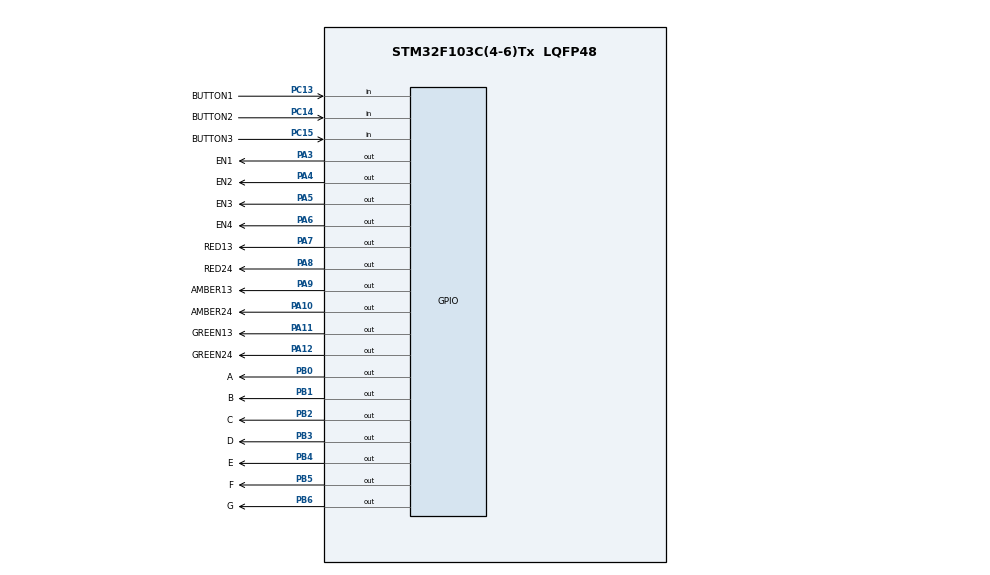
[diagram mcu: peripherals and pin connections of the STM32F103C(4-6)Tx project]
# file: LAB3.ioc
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Mcu.Family=STM32F1
Mcu.Name=STM32F103C(4-6)Tx
Mcu.Package=LQFP48
NVIC.PriorityGroup=NVIC_PRIORITYGROUP_4
NVIC.TIM2_IRQn=true\:0\:0\:false\:false\:true\:true\:true\:true
PA10.GPIO_Label=AMBER24
PA10.Signal=GPIO_Output
PA11.GPIO_Label=GREEN13
PA11.Signal=GPIO_Output
PA12.GPIO_Label=GREEN24
PA12.Signal=GPIO_Output
PA3.GPIO_Label=EN1
PA3.Signal=GPIO_Output
PA4.GPIO_Label=EN2
PA4.Signal=GPIO_Output
PA5.GPIO_Label=EN3
PA5.Signal=GPIO_Output
PA6.GPIO_Label=EN4
PA6.Signal=GPIO_Output
PA7.GPIO_Label=RED13
PA7.Signal=GPIO_Output
PA8.GPIO_Label=RED24
PA8.Signal=GPIO_Output
PA9.GPIO_Label=AMBER13
PA9.Signal=GPIO_Output
PB0.GPIO_Label=A
PB0.Signal=GPIO_Output
PB1.GPIO_Label=B
PB1.Signal=GPIO_Output
PB2.GPIO_Label=C
PB2.Signal=GPIO_Output
PB3.GPIO_Label=D
PB3.Signal=GPIO_Output
PB4.GPIO_Label=E
PB4.Signal=GPIO_Output
PB5.GPIO_Label=F
PB5.Signal=GPIO_Output
PB6.GPIO_Label=G
PB6.Signal=GPIO_Output
PC13-TAMPER-RTC.GPIO_Label=BUTTON1
PC13-TAMPER-RTC.GPIO_PuPd=GPIO_PULLUP
PC13-TAMPER-RTC.Signal=GPIO_Input
PC14-OSC32_IN.GPIO_Label=BUTTON2
PC14-OSC32_IN.GPIO_PuPd=GPIO_PULLUP
PC14-OSC32_IN.Signal=GPIO_Input
PC15-OSC32_OUT.GPIO_Label=BUTTON3
PC15-OSC32_OUT.GPIO_PuPd=GPIO_PULLUP
PC15-OSC32_OUT.Signal=GPIO_Input
ProjectManager.HeapSize=0x200
ProjectManager.StackSize=0x400
ProjectManager.TargetToolchain=STM32CubeIDE
RCC.APB1Freq_Value=8000000
RCC.APB2Freq_Value=8000000
TIM2.Period=9
TIM2.Prescaler=7999
VP_SYS_VS_ND.Mode=No_Debug
VP_TIM2_VS_ClockSourceINT.Mode=Internal
board=custom

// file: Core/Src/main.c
/* USER CODE BEGIN Header */
/**
  ******************************************************************************
  * @file           : main.c
  * @brief          : Main program body
  ******************************************************************************
  * @attention
  *
  * Copyright (c) 2024 STMicroelectronics.
  * All rights reserved.
  *
  * This software is licensed under terms that can be found in the LICENSE file
  * in the root directory of this software component.
  * If no LICENSE file comes with this software, it is provided AS-IS.
  *
  ******************************************************************************
  */
/* USER CODE END Header */
#include "main.h"

/* USER CODE BEGIN Includes */
#include "fsm_auto.h"
#include "global.h"
#include "soft_timer.h"
#include "input_reading.h"
#include "light_traffic.h"
#include "fsm_manual.h"
/* USER CODE END Includes */

TIM_HandleTypeDef htim2;

/* USER CODE BEGIN PV */
void HAL_TIM_PeriodElapsedCallback ( TIM_HandleTypeDef * htim )
{
	runTimer();
	getKeyInput();
}
/* USER CODE END PV */

void SystemClock_Config(void);
static void MX_GPIO_Init(void);
static void MX_TIM2_Init(void);

int main(void)
{

  /* MCU Configuration--------------------------------------------------------*/

  /* Reset of all peripherals, Initializes the Flash interface and the Systick. */
  HAL_Init();

  /* Configure the system clock */
  SystemClock_Config();

  /* Initialize all configured peripherals */
  MX_GPIO_Init();
  MX_TIM2_Init();
  /* USER CODE BEGIN 2 */
  	setTimer(TIMER_LIGHT_TRAFFIC, TIMER_LIGHT_TRAFFIC_DUR);
  	setTimer(TIMER_UPDATE_7SEG, TIMER_UPDATE_7SEG_DUR);
  	button_init();
  	set_button(0, BUTTON1_GPIO_Port, BUTTON1_Pin);
  	set_button(1, BUTTON2_GPIO_Port, BUTTON2_Pin);
  	set_button(2, BUTTON3_GPIO_Port, BUTTON3_Pin);
  	HAL_TIM_Base_Start_IT(&htim2);
  	clear_led_red_amber_green();
  	updateTrafficLight();
  /* USER CODE END 2 */

  /* Infinite loop */
  while (1)
  {
	  fsm_auto();
	  fsm_manual();
  }
}

void SystemClock_Config(void)
{
  RCC_OscInitTypeDef RCC_OscInitStruct = {0};
  RCC_ClkInitTypeDef RCC_ClkInitStruct = {0};

  /** Initializes the RCC Oscillators according to the specified parameters
  * in the RCC_OscInitTypeDef structure.
  */
  RCC_OscInitStruct.OscillatorType = RCC_OSCILLATORTYPE_HSI;
  RCC_OscInitStruct.HSIState = RCC_HSI_ON;
  RCC_OscInitStruct.HSICalibrationValue = RCC_HSICALIBRATION_DEFAULT;
  RCC_OscInitStruct.PLL.PLLState = RCC_PLL_NONE;
  if (HAL_RCC_OscConfig(&RCC_OscInitStruct) != HAL_OK)
  {
    Error_Handler();
  }

  /** Initializes the CPU, AHB and APB buses clocks
  */
  RCC_ClkInitStruct.ClockType = RCC_CLOCKTYPE_HCLK|RCC_CLOCKTYPE_SYSCLK
                              |RCC_CLOCKTYPE_PCLK1|RCC_CLOCKTYPE_PCLK2;
  RCC_ClkInitStruct.SYSCLKSource = RCC_SYSCLKSOURCE_HSI;
  RCC_ClkInitStruct.AHBCLKDivider = RCC_SYSCLK_DIV1;
  RCC_ClkInitStruct.APB1CLKDivider = RCC_HCLK_DIV1;
  RCC_ClkInitStruct.APB2CLKDivider = RCC_HCLK_DIV1;

  if (HAL_RCC_ClockConfig(&RCC_ClkInitStruct, FLASH_LATENCY_0) != HAL_OK)
  {
    Error_Handler();
  }
}

static void MX_TIM2_Init(void)
{

  TIM_ClockConfigTypeDef sClockSourceConfig = {0};
  TIM_MasterConfigTypeDef sMasterConfig = {0};

  htim2.Instance = TIM2;
  htim2.Init.Prescaler = 7999;
  htim2.Init.CounterMode = TIM_COUNTERMODE_UP;
  htim2.Init.Period = 9;
  htim2.Init.ClockDivision = TIM_CLOCKDIVISION_DIV1;
  htim2.Init.AutoReloadPreload = TIM_AUTORELOAD_PRELOAD_DISABLE;
  if (HAL_TIM_Base_Init(&htim2) != HAL_OK)
  {
    Error_Handler();
  }
  sClockSourceConfig.ClockSource = TIM_CLOCKSOURCE_INTERNAL;
  if (HAL_TIM_ConfigClockSource(&htim2, &sClockSourceConfig) != HAL_OK)
  {
    Error_Handler();
  }
  sMasterConfig.MasterOutputTrigger = TIM_TRGO_RESET;
  sMasterConfig.MasterSlaveMode = TIM_MASTERSLAVEMODE_DISABLE;
  if (HAL_TIMEx_MasterConfigSynchronization(&htim2, &sMasterConfig) != HAL_OK)
  {
    Error_Handler();
  }

}

static void MX_GPIO_Init(void)
{
  GPIO_InitTypeDef GPIO_InitStruct = {0};

  /* GPIO Ports Clock Enable */
  __HAL_RCC_GPIOC_CLK_ENABLE();
  __HAL_RCC_GPIOA_CLK_ENABLE();
  __HAL_RCC_GPIOB_CLK_ENABLE();

  /*Configure GPIO pin Output Level */
  HAL_GPIO_WritePin(GPIOA, EN1_Pin|EN2_Pin|EN3_Pin|EN4_Pin
                          |RED13_Pin|RED24_Pin|AMBER13_Pin|AMBER24_Pin
                          |GREEN13_Pin|GREEN24_Pin, GPIO_PIN_RESET);

  /*Configure GPIO pin Output Level */
  HAL_GPIO_WritePin(GPIOB, A_Pin|B_Pin|C_Pin|D_Pin
                          |E_Pin|F_Pin|G_Pin, GPIO_PIN_RESET);

  /*Configure GPIO pins : BUTTON1_Pin BUTTON2_Pin BUTTON3_Pin */
  GPIO_InitStruct.Pin = BUTTON1_Pin|BUTTON2_Pin|BUTTON3_Pin;
  GPIO_InitStruct.Mode = GPIO_MODE_INPUT;
  GPIO_InitStruct.Pull = GPIO_PULLUP;
  HAL_GPIO_Init(GPIOC, &GPIO_InitStruct);

  /*Configure GPIO pins : EN1_Pin EN2_Pin EN3_Pin EN4_Pin
                           RED13_Pin RED24_Pin AMBER13_Pin AMBER24_Pin
                           GREEN13_Pin GREEN24_Pin */
  GPIO_InitStruct.Pin = EN1_Pin|EN2_Pin|EN3_Pin|EN4_Pin
                          |RED13_Pin|RED24_Pin|AMBER13_Pin|AMBER24_Pin
                          |GREEN13_Pin|GREEN24_Pin;
  GPIO_InitStruct.Mode = GPIO_MODE_OUTPUT_PP;
  GPIO_InitStruct.Pull = GPIO_NOPULL;
  GPIO_InitStruct.Speed = GPIO_SPEED_FREQ_LOW;
  HAL_GPIO_Init(GPIOA, &GPIO_InitStruct);

  /*Configure GPIO pins : A_Pin B_Pin C_Pin D_Pin
                           E_Pin F_Pin G_Pin */
  GPIO_InitStruct.Pin = A_Pin|B_Pin|C_Pin|D_Pin
                          |E_Pin|F_Pin|G_Pin;
  GPIO_InitStruct.Mode = GPIO_MODE_OUTPUT_PP;
  GPIO_InitStruct.Pull = GPIO_NOPULL;
  GPIO_InitStruct.Speed = GPIO_SPEED_FREQ_LOW;
  HAL_GPIO_Init(GPIOB, &GPIO_InitStruct);

}

void Error_Handler(void)
{
  __disable_irq();
  while (1)
  {
  }
}
